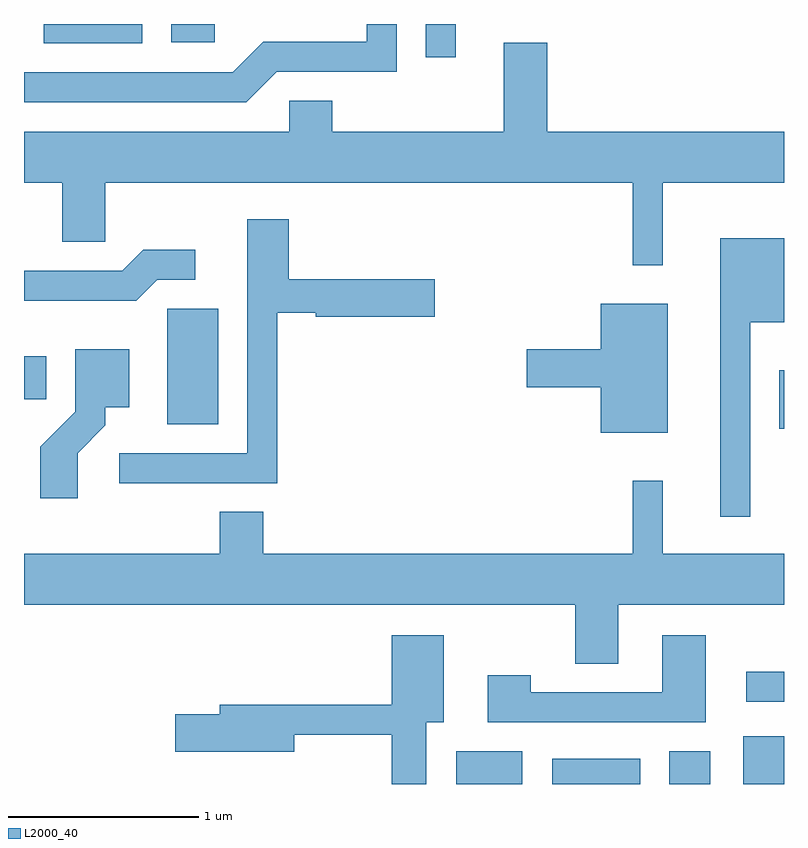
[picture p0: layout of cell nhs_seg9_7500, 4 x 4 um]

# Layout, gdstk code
import gdstk
lib = gdstk.Library(unit=1e-6, precision=1e-09)
def R(c, l, rs):  # rectangles x0, y0, x1, y1
    for r in rs: c.add(gdstk.rectangle(r[:2], r[2:], *l))
def P(c, l, *ps):  # polygons
    for p in ps: c.add(gdstk.Polygon(p, *l))
L2000_40 = (2000, 40)

nhs_seg9_7500 = lib.new_cell('nhs_seg9_7500')
R(nhs_seg9_7500, L2000_40, [(409.886,1986.432,410.234,1986.604), (410.391,1986.432,410.854,1986.564), (411.006,1986.432,411.224,1986.604), (411.396,1986.432,411.611,1986.684), (411.413,1986.866,411.611,1987.024), (411.586,1988.301,411.611,1988.609), (408.366,1988.326,408.634,1988.934), (407.611,1988.456,407.729,1988.684), (409.726,1990.258,409.884,1990.432), (407.716,1990.331,408.234,1990.432), (408.386,1990.336,408.614,1990.432)])
P(nhs_seg9_7500, L2000_40, [(408.942,1990.181),(409.574,1990.181),(409.574,1990.432),(409.416,1990.432),(409.416,1990.339),(408.869,1990.339),(408.709,1990.179),(407.611,1990.179),(407.611,1990.021),(408.782,1990.021)],
  [(410.974,1989.596),(411.611,1989.596),(411.611,1989.864),(410.364,1989.864),(410.364,1990.334),(410.136,1990.334),(410.136,1989.864),(409.234,1989.864),(409.234,1990.029),(409.006,1990.029),(409.006,1989.864),(407.611,1989.864),(407.611,1989.596),(407.811,1989.596),(407.811,1989.286),(408.039,1989.286),(408.039,1989.596),(410.816,1989.596),(410.816,1989.163),(410.974,1989.163)],
  [(408.944,1988.911),(409.146,1988.911),(409.146,1988.891),(409.774,1988.891),(409.774,1989.089),(409.004,1989.089),(409.004,1989.404),(408.786,1989.404),(408.786,1988.174),(408.113,1988.174),(408.113,1988.016),(408.944,1988.016)],
  [(411.434,1988.861),(411.611,1988.861),(411.611,1989.304),(411.276,1989.304),(411.276,1987.838),(411.434,1987.838)],
  [(408.312,1989.086),(408.513,1989.086),(408.513,1989.244),(408.239,1989.244),(408.129,1989.134),(407.611,1989.134),(407.611,1988.976),(408.202,1988.976)],
  [(410.999,1988.959),(410.646,1988.959),(410.646,1988.719),(410.256,1988.719),(410.256,1988.521),(410.646,1988.521),(410.646,1988.281),(410.999,1988.281)],
  [(407.894,1988.174),(408.039,1988.319),(408.039,1988.416),(408.164,1988.416),(408.164,1988.719),(407.881,1988.719),(407.881,1988.392),(407.696,1988.207),(407.696,1987.936),(407.894,1987.936)],
  [(410.739,1987.376),(411.611,1987.376),(411.611,1987.644),(410.974,1987.644),(410.974,1988.028),(410.816,1988.028),(410.816,1987.644),(408.869,1987.644),(408.869,1987.864),(408.641,1987.864),(408.641,1987.644),(407.611,1987.644),(407.611,1987.376),(410.511,1987.376),(410.511,1987.066),(410.739,1987.066)],
  [(409.729,1986.756),(409.819,1986.756),(409.819,1987.214),(409.546,1987.214),(409.546,1986.849),(408.641,1986.849),(408.641,1986.799),(408.406,1986.799),(408.406,1986.601),(409.034,1986.601),(409.034,1986.691),(409.546,1986.691),(409.546,1986.432),(409.729,1986.432)],
  [(411.199,1987.214),(410.971,1987.214),(410.971,1986.914),(410.279,1986.914),(410.279,1987.004),(410.051,1987.004),(410.051,1986.756),(411.199,1986.756)])

lib.write_gds('nhs_seg9_7500.gds')
